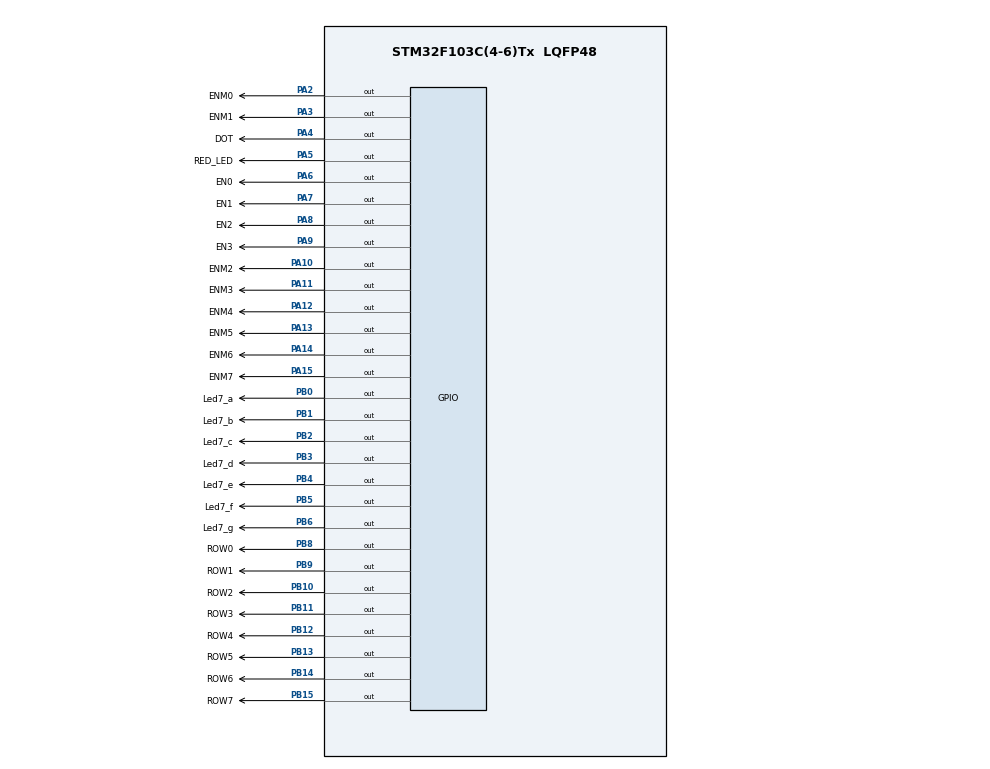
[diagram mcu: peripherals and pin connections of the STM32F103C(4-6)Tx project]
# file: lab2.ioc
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Mcu.Family=STM32F1
Mcu.Name=STM32F103C(4-6)Tx
Mcu.Package=LQFP48
NVIC.PriorityGroup=NVIC_PRIORITYGROUP_4
NVIC.TIM2_IRQn=true\:0\:0\:false\:false\:true\:true\:true\:true
PA10.GPIO_Label=ENM2
PA10.Signal=GPIO_Output
PA11.GPIO_Label=ENM3
PA11.Signal=GPIO_Output
PA12.GPIO_Label=ENM4
PA12.Signal=GPIO_Output
PA13.GPIO_Label=ENM5
PA13.Signal=GPIO_Output
PA14.GPIO_Label=ENM6
PA14.Signal=GPIO_Output
PA15.GPIO_Label=ENM7
PA15.Signal=GPIO_Output
PA2.GPIO_Label=ENM0
PA2.Signal=GPIO_Output
PA3.GPIO_Label=ENM1
PA3.Signal=GPIO_Output
PA4.GPIO_Label=DOT
PA4.Signal=GPIO_Output
PA5.GPIO_Label=RED_LED
PA5.Signal=GPIO_Output
PA6.GPIO_Label=EN0
PA6.Signal=GPIO_Output
PA7.GPIO_Label=EN1
PA7.Signal=GPIO_Output
PA8.GPIO_Label=EN2
PA8.Signal=GPIO_Output
PA9.GPIO_Label=EN3
PA9.Signal=GPIO_Output
PB0.GPIO_Label=Led7_a
PB0.Signal=GPIO_Output
PB1.GPIO_Label=Led7_b
PB1.Signal=GPIO_Output
PB10.GPIO_Label=ROW2
PB10.Signal=GPIO_Output
PB11.GPIO_Label=ROW3
PB11.Signal=GPIO_Output
PB12.GPIO_Label=ROW4
PB12.Signal=GPIO_Output
PB13.GPIO_Label=ROW5
PB13.Signal=GPIO_Output
PB14.GPIO_Label=ROW6
PB14.Signal=GPIO_Output
PB15.GPIO_Label=ROW7
PB15.Signal=GPIO_Output
PB2.GPIO_Label=Led7_c
PB2.Signal=GPIO_Output
PB3.GPIO_Label=Led7_d
PB3.Signal=GPIO_Output
PB4.GPIO_Label=Led7_e
PB4.Signal=GPIO_Output
PB5.GPIO_Label=Led7_f
PB5.Signal=GPIO_Output
PB6.GPIO_Label=Led7_g
PB6.Signal=GPIO_Output
PB8.GPIO_Label=ROW0
PB8.Signal=GPIO_Output
PB9.GPIO_Label=ROW1
PB9.Signal=GPIO_Output
ProjectManager.HeapSize=0x200
ProjectManager.StackSize=0x400
ProjectManager.TargetToolchain=STM32CubeIDE
RCC.APB1Freq_Value=8000000
RCC.APB2Freq_Value=8000000
TIM2.Period=9
TIM2.Prescaler=7999
VP_SYS_VS_ND.Mode=No_Debug
VP_TIM2_VS_ClockSourceINT.Mode=Internal
board=custom

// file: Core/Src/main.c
/* USER CODE BEGIN Header */
/**
  ******************************************************************************
  * @file           : main.c
  * @brief          : Main program body
  ******************************************************************************
  * @attention
  *
  * Copyright (c) 2025 STMicroelectronics.
  * All rights reserved.
  *
  * This software is licensed under terms that can be found in the LICENSE file
  * in the root directory of this software component.
  * If no LICENSE file comes with this software, it is provided AS-IS.
  *
  ******************************************************************************
  */
/* USER CODE END Header */
#include "main.h"

/* USER CODE BEGIN Includes */
#include "software_timer.h"
/* USER CODE END Includes */

TIM_HandleTypeDef htim2;

void SystemClock_Config(void);
static void MX_GPIO_Init(void);
static void MX_TIM2_Init(void);

/* USER CODE BEGIN 0 */

void clear7SEG() {
	HAL_GPIO_WritePin(Led7_a_GPIO_Port, Led7_a_Pin, GPIO_PIN_SET);
	HAL_GPIO_WritePin(Led7_f_GPIO_Port, Led7_f_Pin, GPIO_PIN_SET);
	HAL_GPIO_WritePin(Led7_e_GPIO_Port, Led7_e_Pin, GPIO_PIN_SET);
	HAL_GPIO_WritePin(Led7_d_GPIO_Port, Led7_d_Pin, GPIO_PIN_SET);
	HAL_GPIO_WritePin(Led7_g_GPIO_Port, Led7_g_Pin, GPIO_PIN_SET);
	HAL_GPIO_WritePin(Led7_b_GPIO_Port, Led7_b_Pin, GPIO_PIN_SET);
	HAL_GPIO_WritePin(Led7_c_GPIO_Port, Led7_c_Pin, GPIO_PIN_SET);
}
// End clear7SEG
void display7SEG (int num) {
  // Set = Tat; Reset = Sang (giong LED)
  switch (num) {
	case 0:
		HAL_GPIO_WritePin(Led7_g_GPIO_Port, Led7_g_Pin, GPIO_PIN_SET);
		HAL_GPIO_WritePin(Led7_a_GPIO_Port, Led7_a_Pin, GPIO_PIN_RESET);
		HAL_GPIO_WritePin(Led7_b_GPIO_Port, Led7_b_Pin, GPIO_PIN_RESET);
		HAL_GPIO_WritePin(Led7_c_GPIO_Port, Led7_c_Pin, GPIO_PIN_RESET);
		HAL_GPIO_WritePin(Led7_d_GPIO_Port, Led7_d_Pin, GPIO_PIN_RESET);
		HAL_GPIO_WritePin(Led7_e_GPIO_Port, Led7_e_Pin, GPIO_PIN_RESET);
		HAL_GPIO_WritePin(Led7_f_GPIO_Port, Led7_f_Pin, GPIO_PIN_RESET);
		break;
	case 1:
		HAL_GPIO_WritePin(Led7_a_GPIO_Port, Led7_a_Pin, GPIO_PIN_SET);
		HAL_GPIO_WritePin(Led7_f_GPIO_Port, Led7_f_Pin, GPIO_PIN_SET);
		HAL_GPIO_WritePin(Led7_e_GPIO_Port, Led7_e_Pin, GPIO_PIN_SET);
		HAL_GPIO_WritePin(Led7_d_GPIO_Port, Led7_d_Pin, GPIO_PIN_SET);
		HAL_GPIO_WritePin(Led7_g_GPIO_Port, Led7_g_Pin, GPIO_PIN_SET);
		HAL_GPIO_WritePin(Led7_b_GPIO_Port, Led7_b_Pin, GPIO_PIN_RESET);
		HAL_GPIO_WritePin(Led7_c_GPIO_Port, Led7_c_Pin, GPIO_PIN_RESET);
		break;
	case 2:
		HAL_GPIO_WritePin(Led7_f_GPIO_Port, Led7_f_Pin, GPIO_PIN_SET);
		HAL_GPIO_WritePin(Led7_c_GPIO_Port, Led7_c_Pin, GPIO_PIN_SET);
		HAL_GPIO_WritePin(Led7_a_GPIO_Port, Led7_a_Pin, GPIO_PIN_RESET);
		HAL_GPIO_WritePin(Led7_b_GPIO_Port, Led7_b_Pin, GPIO_PIN_RESET);
		HAL_GPIO_WritePin(Led7_g_GPIO_Port, Led7_g_Pin, GPIO_PIN_RESET);
		HAL_GPIO_WritePin(Led7_e_GPIO_Port, Led7_e_Pin, GPIO_PIN_RESET);
		HAL_GPIO_WritePin(Led7_d_GPIO_Port, Led7_d_Pin, GPIO_PIN_RESET);
		break;
	case 3:
		HAL_GPIO_WritePin(Led7_f_GPIO_Port, Led7_f_Pin, GPIO_PIN_SET);
		HAL_GPIO_WritePin(Led7_e_GPIO_Port, Led7_e_Pin, GPIO_PIN_SET);
		HAL_GPIO_WritePin(Led7_a_GPIO_Port, Led7_a_Pin, GPIO_PIN_RESET);
		HAL_GPIO_WritePin(Led7_b_GPIO_Port, Led7_b_Pin, GPIO_PIN_RESET);
		HAL_GPIO_WritePin(Led7_g_GPIO_Port, Led7_g_Pin, GPIO_PIN_RESET);
		HAL_GPIO_WritePin(Led7_c_GPIO_Port, Led7_c_Pin, GPIO_PIN_RESET);
		HAL_GPIO_WritePin(Led7_d_GPIO_Port, Led7_d_Pin, GPIO_PIN_RESET);
		break;
	case 4:
		HAL_GPIO_WritePin(Led7_a_GPIO_Port, Led7_a_Pin, GPIO_PIN_SET);
		HAL_GPIO_WritePin(Led7_e_GPIO_Port, Led7_e_Pin, GPIO_PIN_SET);
		HAL_GPIO_WritePin(Led7_d_GPIO_Port, Led7_d_Pin, GPIO_PIN_SET);
		HAL_GPIO_WritePin(Led7_f_GPIO_Port, Led7_f_Pin, GPIO_PIN_RESET);
		HAL_GPIO_WritePin(Led7_b_GPIO_Port, Led7_b_Pin, GPIO_PIN_RESET);
		HAL_GPIO_WritePin(Led7_g_GPIO_Port, Led7_g_Pin, GPIO_PIN_RESET);
		HAL_GPIO_WritePin(Led7_c_GPIO_Port, Led7_c_Pin, GPIO_PIN_RESET);
		break;
	case 5:
		HAL_GPIO_WritePin(Led7_b_GPIO_Port, Led7_b_Pin, GPIO_PIN_SET);
		HAL_GPIO_WritePin(Led7_e_GPIO_Port, Led7_e_Pin, GPIO_PIN_SET);
		HAL_GPIO_WritePin(Led7_a_GPIO_Port, Led7_a_Pin, GPIO_PIN_RESET);
		HAL_GPIO_WritePin(Led7_f_GPIO_Port, Led7_f_Pin, GPIO_PIN_RESET);
		HAL_GPIO_WritePin(Led7_g_GPIO_Port, Led7_g_Pin, GPIO_PIN_RESET);
		HAL_GPIO_WritePin(Led7_c_GPIO_Port, Led7_c_Pin, GPIO_PIN_RESET);
		HAL_GPIO_WritePin(Led7_d_GPIO_Port, Led7_d_Pin, GPIO_PIN_RESET);
		break;
	case 6:
		HAL_GPIO_WritePin(Led7_b_GPIO_Port, Led7_b_Pin, GPIO_PIN_SET);
		HAL_GPIO_WritePin(Led7_a_GPIO_Port, Led7_a_Pin, GPIO_PIN_RESET);
		HAL_GPIO_WritePin(Led7_f_GPIO_Port, Led7_f_Pin, GPIO_PIN_RESET);
		HAL_GPIO_WritePin(Led7_g_GPIO_Port, Led7_g_Pin, GPIO_PIN_RESET);
		HAL_GPIO_WritePin(Led7_e_GPIO_Port, Led7_e_Pin, GPIO_PIN_RESET);
		HAL_GPIO_WritePin(Led7_c_GPIO_Port, Led7_c_Pin, GPIO_PIN_RESET);
		HAL_GPIO_WritePin(Led7_d_GPIO_Port, Led7_d_Pin, GPIO_PIN_RESET);
		break;
	case 7:
		HAL_GPIO_WritePin(Led7_f_GPIO_Port, Led7_f_Pin, GPIO_PIN_SET);
		HAL_GPIO_WritePin(Led7_g_GPIO_Port, Led7_g_Pin, GPIO_PIN_SET);
		HAL_GPIO_WritePin(Led7_e_GPIO_Port, Led7_e_Pin, GPIO_PIN_SET);
		HAL_GPIO_WritePin(Led7_d_GPIO_Port, Led7_d_Pin, GPIO_PIN_SET);
		HAL_GPIO_WritePin(Led7_a_GPIO_Port, Led7_a_Pin, GPIO_PIN_RESET);
		HAL_GPIO_WritePin(Led7_b_GPIO_Port, Led7_b_Pin, GPIO_PIN_RESET);
		HAL_GPIO_WritePin(Led7_c_GPIO_Port, Led7_c_Pin, GPIO_PIN_RESET);
		break;
	case 8:
		HAL_GPIO_WritePin(Led7_a_GPIO_Port, Led7_a_Pin, GPIO_PIN_RESET);
		HAL_GPIO_WritePin(Led7_b_GPIO_Port, Led7_b_Pin, GPIO_PIN_RESET);
		HAL_GPIO_WritePin(Led7_c_GPIO_Port, Led7_c_Pin, GPIO_PIN_RESET);
		HAL_GPIO_WritePin(Led7_f_GPIO_Port, Led7_f_Pin, GPIO_PIN_RESET);
		HAL_GPIO_WritePin(Led7_g_GPIO_Port, Led7_g_Pin, GPIO_PIN_RESET);
		HAL_GPIO_WritePin(Led7_e_GPIO_Port, Led7_e_Pin, GPIO_PIN_RESET);
		HAL_GPIO_WritePin(Led7_d_GPIO_Port, Led7_d_Pin, GPIO_PIN_RESET);
		break;
	case 9:
		HAL_GPIO_WritePin(Led7_e_GPIO_Port, Led7_e_Pin, GPIO_PIN_SET);
		HAL_GPIO_WritePin(Led7_a_GPIO_Port, Led7_a_Pin, GPIO_PIN_RESET);
		HAL_GPIO_WritePin(Led7_b_GPIO_Port, Led7_b_Pin, GPIO_PIN_RESET);
		HAL_GPIO_WritePin(Led7_c_GPIO_Port, Led7_c_Pin, GPIO_PIN_RESET);
		HAL_GPIO_WritePin(Led7_f_GPIO_Port, Led7_f_Pin, GPIO_PIN_RESET);
		HAL_GPIO_WritePin(Led7_g_GPIO_Port, Led7_g_Pin, GPIO_PIN_RESET);
		HAL_GPIO_WritePin(Led7_d_GPIO_Port, Led7_d_Pin, GPIO_PIN_RESET);
		break;
	default:
		clear7SEG();
		break;
}
}
// End display7SEG
const unsigned int MAX_LED = 4;
int index_led = 0;
int led_buffer[4];
void update7SEG(int index){
	switch (index){
	case 0:
		display7SEG(led_buffer[0]);
		HAL_GPIO_WritePin(EN0_GPIO_Port, EN0_Pin, GPIO_PIN_RESET);
		HAL_GPIO_WritePin(EN1_GPIO_Port, EN1_Pin, GPIO_PIN_SET);
		HAL_GPIO_WritePin(EN2_GPIO_Port, EN2_Pin, GPIO_PIN_SET);
		HAL_GPIO_WritePin(EN3_GPIO_Port, EN3_Pin, GPIO_PIN_SET);
		break;

	case 1:
		display7SEG(led_buffer[1]);
		HAL_GPIO_WritePin(EN0_GPIO_Port, EN0_Pin, GPIO_PIN_SET);
		HAL_GPIO_WritePin(EN1_GPIO_Port, EN1_Pin, GPIO_PIN_RESET);
		HAL_GPIO_WritePin(EN2_GPIO_Port, EN2_Pin, GPIO_PIN_SET);
		HAL_GPIO_WritePin(EN3_GPIO_Port, EN3_Pin, GPIO_PIN_SET);
		break;

	case 2:
		display7SEG(led_buffer[2]);
		HAL_GPIO_WritePin(EN0_GPIO_Port, EN0_Pin, GPIO_PIN_SET);
		HAL_GPIO_WritePin(EN1_GPIO_Port, EN1_Pin, GPIO_PIN_SET);
		HAL_GPIO_WritePin(EN2_GPIO_Port, EN2_Pin, GPIO_PIN_RESET);
		HAL_GPIO_WritePin(EN3_GPIO_Port, EN3_Pin, GPIO_PIN_SET);
		break;

	case 3:
		display7SEG(led_buffer[3]);
		HAL_GPIO_WritePin(EN0_GPIO_Port, EN0_Pin, GPIO_PIN_SET);
		HAL_GPIO_WritePin(EN1_GPIO_Port, EN1_Pin, GPIO_PIN_SET);
		HAL_GPIO_WritePin(EN2_GPIO_Port, EN2_Pin, GPIO_PIN_SET);
		HAL_GPIO_WritePin(EN3_GPIO_Port, EN3_Pin, GPIO_PIN_RESET);
		break;

	default:
		HAL_GPIO_WritePin(EN0_GPIO_Port, EN0_Pin, GPIO_PIN_SET);
		HAL_GPIO_WritePin(EN1_GPIO_Port, EN1_Pin, GPIO_PIN_SET);
		HAL_GPIO_WritePin(EN2_GPIO_Port, EN2_Pin, GPIO_PIN_SET);
		HAL_GPIO_WritePin(EN3_GPIO_Port, EN3_Pin, GPIO_PIN_SET);
		break;

	}
}

void updateClockBuffer(int hour, int minute){
	led_buffer[0] = hour /10;
	led_buffer[1] = hour % 10;
	led_buffer[2] = minute /10;
	led_buffer[3] = minute % 10;
}

const int MAX_LED_MATRIX = 8;
int index_led_matrix = 0;
uint8_t matrix_buffer[8] = {
		 0b00000000,
		 0b00111111,
		 0b01001000,
		 0b10001000,
		 0b10001000,
		 0b01001000,
		 0b00111111,
		 0b00000000
};

void turnOffAllMatrixColumn(){
	HAL_GPIO_WritePin(ENM0_GPIO_Port, ENM0_Pin, GPIO_PIN_SET);
	HAL_GPIO_WritePin(ENM1_GPIO_Port, ENM1_Pin, GPIO_PIN_SET);
	HAL_GPIO_WritePin(ENM2_GPIO_Port, ENM2_Pin, GPIO_PIN_SET);
	HAL_GPIO_WritePin(ENM3_GPIO_Port, ENM3_Pin, GPIO_PIN_SET);
	HAL_GPIO_WritePin(ENM4_GPIO_Port, ENM4_Pin, GPIO_PIN_SET);
	HAL_GPIO_WritePin(ENM5_GPIO_Port, ENM5_Pin, GPIO_PIN_SET);
	HAL_GPIO_WritePin(ENM6_GPIO_Port, ENM6_Pin, GPIO_PIN_SET);
	HAL_GPIO_WritePin(ENM7_GPIO_Port, ENM7_Pin, GPIO_PIN_SET);
}

void setMatrixRowData(uint8_t data){
	HAL_GPIO_WritePin(ROW0_GPIO_Port, ROW0_Pin, !((data >> 7) & 0x1));
	HAL_GPIO_WritePin(ROW1_GPIO_Port, ROW1_Pin, !((data >> 6) & 0x1));
	HAL_GPIO_WritePin(ROW2_GPIO_Port, ROW2_Pin, !((data >> 5) & 0x1));
	HAL_GPIO_WritePin(ROW3_GPIO_Port, ROW3_Pin, !((data >> 4) & 0x1));
	HAL_GPIO_WritePin(ROW4_GPIO_Port, ROW4_Pin, !((data >> 3) & 0x1));
	HAL_GPIO_WritePin(ROW5_GPIO_Port, ROW5_Pin, !((data >> 2) & 0x1));
	HAL_GPIO_WritePin(ROW6_GPIO_Port, ROW6_Pin, !((data >> 1) & 0x1));
	HAL_GPIO_WritePin(ROW7_GPIO_Port, ROW7_Pin, !((data >> 0) & 0x1));
}
void updateLEDMatrix(int index){
	turnOffAllMatrixColumn();
	setMatrixRowData(matrix_buffer[index]);
	switch (index){
	case 0:
		HAL_GPIO_WritePin(ENM0_GPIO_Port, ENM0_Pin, RESET);
		break;
	case 1:
		HAL_GPIO_WritePin(ENM1_GPIO_Port, ENM1_Pin, RESET);
		break;
	case 2:
		HAL_GPIO_WritePin(ENM2_GPIO_Port, ENM2_Pin, RESET);
		break;
	case 3:
		HAL_GPIO_WritePin(ENM3_GPIO_Port, ENM3_Pin, RESET);
		break;
	case 4:
		HAL_GPIO_WritePin(ENM4_GPIO_Port, ENM4_Pin, RESET);
		break;
	case 5:
		HAL_GPIO_WritePin(ENM5_GPIO_Port, ENM5_Pin, RESET);
		break;
	case 6:
		HAL_GPIO_WritePin(ENM6_GPIO_Port, ENM6_Pin, RESET);
		break;
	case 7:
		HAL_GPIO_WritePin(ENM7_GPIO_Port, ENM7_Pin, RESET);
		break;
	default:
		break;
	}
}
/* USER CODE END 0 */

int main(void)
{

  /* MCU Configuration--------------------------------------------------------*/

  /* Reset of all peripherals, Initializes the Flash interface and the Systick. */
  HAL_Init();

  /* Configure the system clock */
  SystemClock_Config();

  /* Initialize all configured peripherals */
  MX_GPIO_Init();
  MX_TIM2_Init();
  /* USER CODE BEGIN 2 */
HAL_GPIO_WritePin(EN0_GPIO_Port, EN0_Pin, GPIO_PIN_SET);
HAL_GPIO_WritePin(EN1_GPIO_Port, EN1_Pin, GPIO_PIN_SET);
HAL_GPIO_WritePin(EN2_GPIO_Port, EN2_Pin, GPIO_PIN_SET);
HAL_GPIO_WritePin(EN3_GPIO_Port, EN3_Pin, GPIO_PIN_SET);
turnOffAllMatrixColumn();
HAL_TIM_Base_Start_IT(&htim2);
  /* USER CODE END 2 */

  /* Infinite loop */
  /* USER CODE BEGIN WHILE */
int hour = 15, minute = 8, second = 50;
setTimer0(100);
setTimer1(25);
setTimer2(3);
updateClockBuffer(hour, minute);
  while (1)
  {
	  //1s chay 1 lan
	  if(timer0_flag == 1){
	setTimer0(100);
	HAL_GPIO_TogglePin(DOT_GPIO_Port, DOT_Pin);
	HAL_GPIO_TogglePin(RED_LED_GPIO_Port, RED_LED_Pin);
	  second++;
	  if (second >= 60){
		  second = 0;
		  minute++;
	  }
	  if (minute >= 60){
		  minute = 0;
		  hour++;
	  }
	  if (hour >= 24){
		  hour = 0;
	  }
	  updateClockBuffer(hour, minute);
	  }

	  //1s chay 4 lan
	  if(timer1_flag == 1){
		  setTimer1(25);
		  update7SEG(index_led++);
			  if (!(index_led < MAX_LED)) index_led = 0;
	  }

	  if(timer2_flag == 1){
		  setTimer2(3);
		  updateLEDMatrix(index_led_matrix);
		  index_led_matrix++;
		  if (index_led_matrix >= 8){
			  index_led_matrix = 0;
		  }
	  }

    /* USER CODE END WHILE */

  }
}

void SystemClock_Config(void)
{
  RCC_OscInitTypeDef RCC_OscInitStruct = {0};
  RCC_ClkInitTypeDef RCC_ClkInitStruct = {0};

  /** Initializes the RCC Oscillators according to the specified parameters
  * in the RCC_OscInitTypeDef structure.
  */
  RCC_OscInitStruct.OscillatorType = RCC_OSCILLATORTYPE_HSI;
  RCC_OscInitStruct.HSIState = RCC_HSI_ON;
  RCC_OscInitStruct.HSICalibrationValue = RCC_HSICALIBRATION_DEFAULT;
  RCC_OscInitStruct.PLL.PLLState = RCC_PLL_NONE;
  if (HAL_RCC_OscConfig(&RCC_OscInitStruct) != HAL_OK)
  {
    Error_Handler();
  }

  /** Initializes the CPU, AHB and APB buses clocks
  */
  RCC_ClkInitStruct.ClockType = RCC_CLOCKTYPE_HCLK|RCC_CLOCKTYPE_SYSCLK
                              |RCC_CLOCKTYPE_PCLK1|RCC_CLOCKTYPE_PCLK2;
  RCC_ClkInitStruct.SYSCLKSource = RCC_SYSCLKSOURCE_HSI;
  RCC_ClkInitStruct.AHBCLKDivider = RCC_SYSCLK_DIV1;
  RCC_ClkInitStruct.APB1CLKDivider = RCC_HCLK_DIV1;
  RCC_ClkInitStruct.APB2CLKDivider = RCC_HCLK_DIV1;

  if (HAL_RCC_ClockConfig(&RCC_ClkInitStruct, FLASH_LATENCY_0) != HAL_OK)
  {
    Error_Handler();
  }
}

static void MX_TIM2_Init(void)
{

  TIM_ClockConfigTypeDef sClockSourceConfig = {0};
  TIM_MasterConfigTypeDef sMasterConfig = {0};

  htim2.Instance = TIM2;
  htim2.Init.Prescaler = 7999;
  htim2.Init.CounterMode = TIM_COUNTERMODE_UP;
  htim2.Init.Period = 9;
  htim2.Init.ClockDivision = TIM_CLOCKDIVISION_DIV1;
  htim2.Init.AutoReloadPreload = TIM_AUTORELOAD_PRELOAD_DISABLE;
  if (HAL_TIM_Base_Init(&htim2) != HAL_OK)
  {
    Error_Handler();
  }
  sClockSourceConfig.ClockSource = TIM_CLOCKSOURCE_INTERNAL;
  if (HAL_TIM_ConfigClockSource(&htim2, &sClockSourceConfig) != HAL_OK)
  {
    Error_Handler();
  }
  sMasterConfig.MasterOutputTrigger = TIM_TRGO_RESET;
  sMasterConfig.MasterSlaveMode = TIM_MASTERSLAVEMODE_DISABLE;
  if (HAL_TIMEx_MasterConfigSynchronization(&htim2, &sMasterConfig) != HAL_OK)
  {
    Error_Handler();
  }

}

static void MX_GPIO_Init(void)
{
  GPIO_InitTypeDef GPIO_InitStruct = {0};

  /* GPIO Ports Clock Enable */
  __HAL_RCC_GPIOA_CLK_ENABLE();
  __HAL_RCC_GPIOB_CLK_ENABLE();

  /*Configure GPIO pin Output Level */
  HAL_GPIO_WritePin(GPIOA, ENM0_Pin|ENM1_Pin|DOT_Pin|RED_LED_Pin
                          |EN0_Pin|EN1_Pin|EN2_Pin|EN3_Pin
                          |ENM2_Pin|ENM3_Pin|ENM4_Pin|ENM5_Pin
                          |ENM6_Pin|ENM7_Pin, GPIO_PIN_RESET);

  /*Configure GPIO pin Output Level */
  HAL_GPIO_WritePin(GPIOB, Led7_a_Pin|Led7_b_Pin|Led7_c_Pin|ROW2_Pin
                          |ROW3_Pin|ROW4_Pin|ROW5_Pin|ROW6_Pin
                          |ROW7_Pin|Led7_d_Pin|Led7_e_Pin|Led7_f_Pin
                          |Led7_g_Pin|ROW0_Pin|ROW1_Pin, GPIO_PIN_RESET);

  /*Configure GPIO pins : ENM0_Pin ENM1_Pin DOT_Pin RED_LED_Pin
                           EN0_Pin EN1_Pin EN2_Pin EN3_Pin
                           ENM2_Pin ENM3_Pin ENM4_Pin ENM5_Pin
                           ENM6_Pin ENM7_Pin */
  GPIO_InitStruct.Pin = ENM0_Pin|ENM1_Pin|DOT_Pin|RED_LED_Pin
                          |EN0_Pin|EN1_Pin|EN2_Pin|EN3_Pin
                          |ENM2_Pin|ENM3_Pin|ENM4_Pin|ENM5_Pin
                          |ENM6_Pin|ENM7_Pin;
  GPIO_InitStruct.Mode = GPIO_MODE_OUTPUT_PP;
  GPIO_InitStruct.Pull = GPIO_NOPULL;
  GPIO_InitStruct.Speed = GPIO_SPEED_FREQ_LOW;
  HAL_GPIO_Init(GPIOA, &GPIO_InitStruct);

  /*Configure GPIO pins : Led7_a_Pin Led7_b_Pin Led7_c_Pin ROW2_Pin
                           ROW3_Pin ROW4_Pin ROW5_Pin ROW6_Pin
                           ROW7_Pin Led7_d_Pin Led7_e_Pin Led7_f_Pin
                           Led7_g_Pin ROW0_Pin ROW1_Pin */
  GPIO_InitStruct.Pin = Led7_a_Pin|Led7_b_Pin|Led7_c_Pin|ROW2_Pin
                          |ROW3_Pin|ROW4_Pin|ROW5_Pin|ROW6_Pin
                          |ROW7_Pin|Led7_d_Pin|Led7_e_Pin|Led7_f_Pin
                          |Led7_g_Pin|ROW0_Pin|ROW1_Pin;
  GPIO_InitStruct.Mode = GPIO_MODE_OUTPUT_PP;
  GPIO_InitStruct.Pull = GPIO_NOPULL;
  GPIO_InitStruct.Speed = GPIO_SPEED_FREQ_LOW;
  HAL_GPIO_Init(GPIOB, &GPIO_InitStruct);

}

/* USER CODE BEGIN 4 */

void HAL_TIM_PeriodElapsedCallback(TIM_HandleTypeDef *htim){
	timer_run();
	/*if (counter == 400){
		update7SEG(index_led++);
	}else if (counter == 300){
		update7SEG(index_led++);
	}else if (counter == 200){
		update7SEG(index_led++);
	}else if (counter == 100){
		update7SEG(index_led++);
	}
	if (!(index_led < MAX_LED)) index_led = 0;
	counter = (counter > 0) ? counter - 1: 400;
	//timerRun(); */

}
/* USER CODE END 4 */

void Error_Handler(void)
{
  __disable_irq();
  while (1)
  {
  }
}
